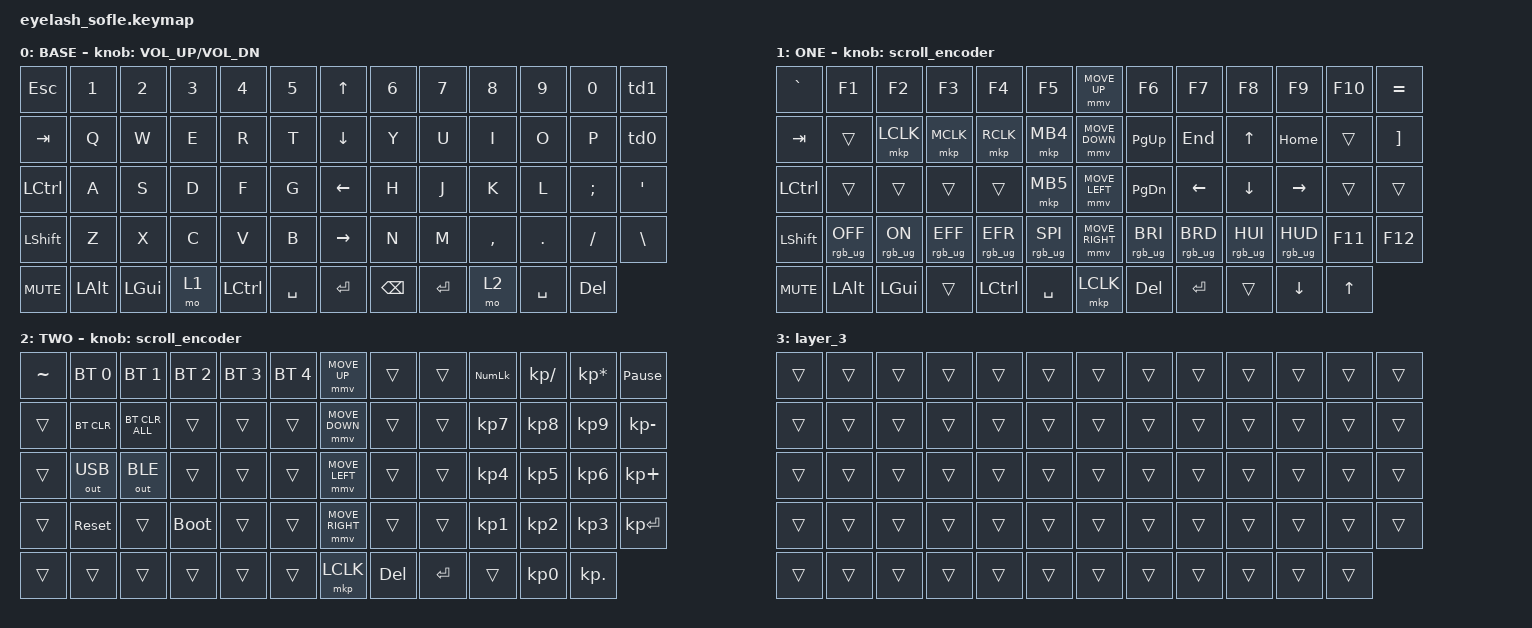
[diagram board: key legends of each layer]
#define ZMK_POINTING_DEFAULT_MOVE_VAL 1200  // 600
#define ZMK_POINTING_DEFAULT_SCRL_VAL 35    // 10
#include <input/processors.dtsi>
#include <behaviors.dtsi>
#include <dt-bindings/zmk/bt.h>
#include <dt-bindings/zmk/keys.h>
#include <dt-bindings/zmk/outputs.h>
#include <dt-bindings/zmk/pointing.h>
#include <dt-bindings/zmk/ext_power.h>
#include <dt-bindings/zmk/rgb.h>
#include <zephyr/dt-bindings/input/input-event-codes.h>

/ {
  zip_scroll_scaler: zip_scroll_scaler {
    compatible = "zmk,input-processor-scaler";
    #input-processor-cells = <2>;
    type = <INPUT_EV_REL>;
    codes = <INPUT_REL_WHEEL INPUT_REL_HWHEEL>;
    track-remainders;
  };
};

&mmv_input_listener {
       input-processors = <&zip_xy_scaler 2 1>;
};

&msc_input_listener {
       input-processors = <&zip_scroll_scaler 2 1>;
};

&msc {
    acceleration-exponent = <0>;      // 0
    time-to-max-speed-ms = <0>;       // 300
    delay-ms = <0>;                   // 0
};

&mmv {
    time-to-max-speed-ms = <400>;
    acceleration-exponent = <1>;
};


/ {
    scroll_encoder: scroll_encoder {
        compatible = "zmk,behavior-sensor-rotate";
        #sensor-binding-cells = <0>;
        bindings = <&msc SCRL_DOWN>, <&msc SCRL_UP>;

        tap-ms = <30>;
    };
	
    behaviors {
        td0: tap_dance_0 {
            compatible = "zmk,behavior-tap-dance";
            #binding-cells = <0>;
            tapping-term-ms = <150>;
            bindings = <&kp LEFT_BRACKET>, <&kp RIGHT_BRACKET>;
        };
		td1: tap_dance_1 {
            compatible = "zmk,behavior-tap-dance";
            #binding-cells = <0>;
            tapping-term-ms = <150>;
            bindings = <&kp MINUS>, <&kp EQUAL>;
        };
    };
	
    keymap {
        compatible = "zmk,keymap";

        layer0 {
            bindings = <
&kp ESC     &kp N1        &kp N2        &kp N3    &kp N4     &kp N5       &kp UP_ARROW     &kp N6         &kp N7     &kp N8     &kp N9           &kp N0      &td1
&kp TAB     &kp Q         &kp W         &kp E     &kp R      &kp T        &kp DOWN_ARROW   &kp Y          &kp U      &kp I      &kp O            &kp P       &td0
&kp LCTRL   &kp A         &kp S         &kp D     &kp F      &kp G        &kp LEFT_ARROW   &kp H          &kp J      &kp K      &kp L            &kp SEMI    &kp APOS
&kp LSHFT   &kp Z         &kp X         &kp C     &kp V      &kp B        &kp RIGHT_ARROW  &kp N          &kp M      &kp COMMA  &kp DOT          &kp FSLH    &kp BSLH
&kp C_MUTE  &kp LEFT_ALT  &kp LEFT_GUI  &mo 1     &kp LCTRL  &kp SPACE    &kp ENTER        &kp BACKSPACE  &kp ENTER  &mo 2      &kp SPACE        &kp DELETE
            >;

            sensor-bindings = <&inc_dec_kp C_VOLUME_UP C_VOL_DN>;
            display-name = "BASE";
        };

        layer_1 {
            bindings = <
&kp GRAVE   &kp F1           &kp F2          &kp F3           &kp F4           &kp F5             &mmv MOVE_UP     &kp F6           &kp F7           &kp F8          &kp F9          &kp F10        &kp EQUAL
&kp TAB     &trans           &mkp LCLK       &mkp MCLK        &mkp RCLK        &mkp MB4           &mmv MOVE_DOWN   &kp PG_UP        &kp END          &kp UP          &kp HOME        &trans         &kp RIGHT_BRACKET
&kp LCTRL   &trans           &trans          &trans           &trans           &mkp MB5           &mmv MOVE_LEFT   &kp PG_DN        &kp LEFT         &kp DOWN        &kp RIGHT       &trans         &trans
&kp LSHFT   &rgb_ug RGB_OFF  &rgb_ug RGB_ON  &rgb_ug RGB_EFF  &rgb_ug RGB_EFR  &rgb_ug RGB_SPI    &mmv MOVE_RIGHT  &rgb_ug RGB_BRI  &rgb_ug RGB_BRD  &rgb_ug RGB_HUI &rgb_ug RGB_HUD &kp F11        &kp F12
&kp C_MUTE  &kp LEFT_ALT     &kp LEFT_GUI    &trans           &kp LCTRL        &kp SPACE          &mkp LCLK        &kp DELETE       &kp ENTER        &trans          &kp DOWN_ARROW  &kp UP_ARROW
            >;

            sensor-bindings = <&scroll_encoder>;
            display-name = "ONE";
        };

        layer_2 {
            bindings = <
&kp TILDE        &bt BT_SEL 0  &bt BT_SEL 1    &bt BT_SEL 2  &bt BT_SEL 3  &bt BT_SEL 4    &mmv MOVE_UP     &trans      &trans     &kp KP_NLCK   &kp KP_SLASH   &kp KP_MULTIPLY  &kp PAUSE_BREAK
&trans           &bt BT_CLR    &bt BT_CLR_ALL  &trans        &trans        &trans          &mmv MOVE_DOWN   &trans      &trans     &kp KP_N7     &kp KP_N8      &kp KP_N9        &kp KP_MINUS
&trans           &out OUT_USB  &out OUT_BLE    &trans        &trans        &trans          &mmv MOVE_LEFT   &trans      &trans     &kp KP_N4     &kp KP_N5      &kp KP_N6        &kp KP_PLUS
&trans           &sys_reset    &trans          &bootloader   &trans        &trans          &mmv MOVE_RIGHT  &trans      &trans     &kp KP_N1     &kp KP_N2      &kp KP_N3        &kp KP_ENTER
&trans           &trans        &trans          &trans        &trans        &trans          &mkp LCLK        &kp DELETE  &kp ENTER  &trans        &kp KP_N0      &kp KP_DOT
            >;

            sensor-bindings = <&scroll_encoder>;
            display-name = "TWO";
        };

        layer_3 {
            bindings = <
&trans  &trans  &trans  &trans  &trans  &trans    &trans  &trans  &trans  &trans  &trans  &trans  &trans
&trans  &trans  &trans  &trans  &trans  &trans    &trans  &trans  &trans  &trans  &trans  &trans  &trans
&trans  &trans  &trans  &trans  &trans  &trans    &trans  &trans  &trans  &trans  &trans  &trans  &trans
&trans  &trans  &trans  &trans  &trans  &trans    &trans  &trans  &trans  &trans  &trans  &trans  &trans
&trans  &trans  &trans  &trans  &trans  &trans    &trans  &trans  &trans  &trans  &trans  &trans
            >;
        };
    };
};
